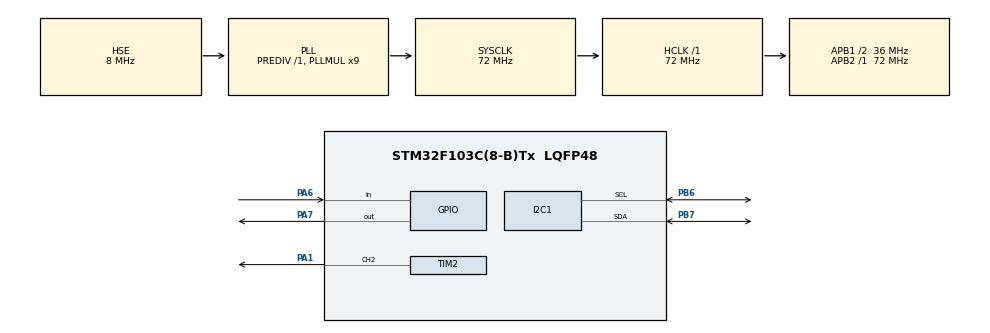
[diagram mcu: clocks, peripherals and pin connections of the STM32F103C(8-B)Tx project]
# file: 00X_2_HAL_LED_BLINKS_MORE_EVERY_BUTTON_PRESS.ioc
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Mcu.Family=STM32F1
Mcu.Name=STM32F103C(8-B)Tx
Mcu.Package=LQFP48
NVIC.PriorityGroup=NVIC_PRIORITYGROUP_4
PA1.Signal=S_TIM2_CH2
PA13.Mode=Serial_Wire
PA13.Signal=SYS_JTMS-SWDIO
PA14.Mode=Serial_Wire
PA14.Signal=SYS_JTCK-SWCLK
PA6.GPIO_PuPd=GPIO_PULLDOWN
PA6.Signal=GPIO_Input
PA7.Signal=GPIO_Output
PB6.Mode=I2C
PB6.Signal=I2C1_SCL
PB7.Mode=I2C
PB7.Signal=I2C1_SDA
PD0-OSC_IN.Mode=HSE-External-Oscillator
PD0-OSC_IN.Signal=RCC_OSC_IN
PD1-OSC_OUT.Mode=HSE-External-Oscillator
PD1-OSC_OUT.Signal=RCC_OSC_OUT
ProjectManager.HeapSize=0x200
ProjectManager.StackSize=0x400
ProjectManager.TargetToolchain=STM32CubeIDE
RCC.AHBFreq_Value=72000000
RCC.APB1CLKDivider=RCC_HCLK_DIV2
RCC.APB1Freq_Value=36000000
RCC.APB1TimFreq_Value=72000000
RCC.APB2Freq_Value=72000000
RCC.APB2TimFreq_Value=72000000
RCC.HCLKFreq_Value=72000000
RCC.PLLMUL=RCC_PLL_MUL9
RCC.PLLSourceVirtual=RCC_PLLSOURCE_HSE
RCC.SYSCLKFreq_VALUE=72000000
RCC.SYSCLKSource=RCC_SYSCLKSOURCE_PLLCLK
RCC.USBFreq_Value=72000000
SH.S_TIM2_CH2.0=TIM2_CH2,PWM Generation2 CH2
TIM2.Channel-PWM\ Generation2\ CH2=TIM_CHANNEL_2
TIM2.Period=625
TIM2.Prescaler=127
VP_TIM2_VS_ClockSourceINT.Mode=Internal
board=custom

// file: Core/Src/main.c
/* USER CODE BEGIN Header */
/**
  ******************************************************************************
  * @file           : main.c
  * @brief          : Main program body
  ******************************************************************************
  * @attention
  *
  * Copyright (c) 2024 STMicroelectronics.
  * All rights reserved.
  *
  * This software is licensed under terms that can be found in the LICENSE file
  * in the root directory of this software component.
  * If no LICENSE file comes with this software, it is provided AS-IS.
  *
  ******************************************************************************
  */
/* USER CODE END Header */
#include "main.h"

/* USER CODE BEGIN Includes */
#include "liquidcrystal_i2c.h"
/* USER CODE END Includes */

I2C_HandleTypeDef hi2c1;

TIM_HandleTypeDef htim2;

/* USER CODE BEGIN PV */
int i = 0;
/* USER CODE END PV */

void SystemClock_Config(void);
static void MX_GPIO_Init(void);
static void MX_TIM2_Init(void);
static void MX_I2C1_Init(void);

int main(void)
{

  /* MCU Configuration--------------------------------------------------------*/

  /* Reset of all peripherals, Initializes the Flash interface and the Systick. */
  HAL_Init();

  /* Configure the system clock */
  SystemClock_Config();

  /* Initialize all configured peripherals */
  MX_GPIO_Init();
  MX_TIM2_Init();
  MX_I2C1_Init();
  /* USER CODE BEGIN 2 */
  HAL_TIM_PWM_Start(&htim2, TIM_CHANNEL_2);

  HD44780_Init(2);
  HD44780_Clear();
  HD44780_SetCursor(0,0);
  HD44780_PrintStr("HELLO");
  HD44780_SetCursor(10,1);
  HD44780_PrintStr("WORLD");
  HAL_Delay(2000);

  HD44780_Clear();
  HD44780_SetCursor(0,0);
  HD44780_PrintStr("HELLO");
  HAL_Delay(2000);
  HD44780_NoBacklight();
  HAL_Delay(2000);
  HD44780_Backlight();

  HAL_Delay(2000);
  HD44780_Cursor();
  HAL_Delay(2000);
  HD44780_Blink();
  HAL_Delay(5000);
  HD44780_NoBlink();
  HAL_Delay(2000);
  HD44780_NoCursor();
  HAL_Delay(2000);

  HD44780_NoDisplay();
  HAL_Delay(2000);
  HD44780_Display();

  HD44780_Clear();
  HD44780_SetCursor(0,0);
  HD44780_PrintStr("Learning STM32 with LCD is fun :-)");
  int x;
  for(int x=0; x<40; x=x+1)
  {
    HD44780_ScrollDisplayLeft();  //HD44780_ScrollDisplayRight();
    HAL_Delay(500);
  }

  char snum[5];
  for ( int x = 1; x <= 200 ; x++ )
  {
    itoa(x, snum, 10);
    HD44780_Clear();
    HD44780_SetCursor(0,0);
    HD44780_PrintStr(snum);
    HAL_Delay (1000);
  }
  /* USER CODE END 2 */

  /* Infinite loop */
  while (1)
  {

    /* USER CODE BEGIN 3 */
	  if(HAL_GPIO_ReadPin(GPIOA, GPIO_PIN_6)){
		  i++;
		  HAL_Delay(10); //delay to prevent ark
	  }
	  if(i>4 || i==0){
		  i=0;
		  HAL_GPIO_WritePin(GPIOA, GPIO_PIN_7, GPIO_PIN_SET); //led off
	  }

	  int y;

	  switch(i){
	  case 1:
		  HAL_GPIO_TogglePin(GPIOA, GPIO_PIN_7);
		  HAL_Delay(10); //10ms | 0.01 sec
		  break;
	  case 2:
		  HAL_GPIO_TogglePin(GPIOA, GPIO_PIN_7);
		  HAL_Delay(100); //100ms | 0.1 sec
		  break;
	  case 3:
		  HAL_GPIO_TogglePin(GPIOA, GPIO_PIN_7);
		  HAL_Delay(1000); //1000ms | 1 sec
		  break;
	  case 4:
		  HAL_GPIO_TogglePin(GPIOA, GPIO_PIN_7);
		  HAL_Delay(5000); //2000ms | 2 sec
		  break;
	  case 5:
		  for(y=0;y<625;y=y+1){
			  __HAL_TIM_SET_COMPARE(&htim2, TIM_CHANNEL_2, y);
			  HAL_Delay(3);
		  }
		  break;
	  case 6:
		  for(y=625;y>0;y=y-1){
			  __HAL_TIM_SET_COMPARE(&htim2, TIM_CHANNEL_2, y);
			  HAL_Delay(3);
		  }
		  break;
	  case 7:
		  for(y=0;y<625;y=y+1){
			  __HAL_TIM_SET_COMPARE(&htim2, TIM_CHANNEL_2, y);
			  HAL_Delay(3);
		  }
		  for(y=625;y>0;y=y-1){
			  __HAL_TIM_SET_COMPARE(&htim2, TIM_CHANNEL_2, y);
			  HAL_Delay(3);
		  }
		  break;
	  case 8:
		  for(y=0;y<625;y=y+1){
			  __HAL_TIM_SET_COMPARE(&htim2, TIM_CHANNEL_2, y);
			  HAL_Delay(25);
		  }
		  for(y=625;y>0;y=y-1){
			  __HAL_TIM_SET_COMPARE(&htim2, TIM_CHANNEL_2, y);
			  HAL_Delay(25);
		  }
		  break;
	  case 9:
		  for(y=0;y<625;y=y+1){
			  __HAL_TIM_SET_COMPARE(&htim2, TIM_CHANNEL_2, y);
			  HAL_Delay(50);
		  }
		  for(y=625;y>0;y=y-1){
			  __HAL_TIM_SET_COMPARE(&htim2, TIM_CHANNEL_2, y);
			  HAL_Delay(50);
		  }
		  break;
	  case 10:
		  for(y=0;y<625;y=y+1){
			  __HAL_TIM_SET_COMPARE(&htim2, TIM_CHANNEL_2, y);
			  HAL_Delay(100);
		  }
		  for(y=625;y>0;y=y-1){
			  __HAL_TIM_SET_COMPARE(&htim2, TIM_CHANNEL_2, y);
			  HAL_Delay(100);
		  }
		  break;
	  }

  }
  /* USER CODE END 3 */
}

void SystemClock_Config(void)
{
  RCC_OscInitTypeDef RCC_OscInitStruct = {0};
  RCC_ClkInitTypeDef RCC_ClkInitStruct = {0};

  /** Initializes the RCC Oscillators according to the specified parameters
  * in the RCC_OscInitTypeDef structure.
  */
  RCC_OscInitStruct.OscillatorType = RCC_OSCILLATORTYPE_HSE;
  RCC_OscInitStruct.HSEState = RCC_HSE_ON;
  RCC_OscInitStruct.HSEPredivValue = RCC_HSE_PREDIV_DIV1;
  RCC_OscInitStruct.HSIState = RCC_HSI_ON;
  RCC_OscInitStruct.PLL.PLLState = RCC_PLL_ON;
  RCC_OscInitStruct.PLL.PLLSource = RCC_PLLSOURCE_HSE;
  RCC_OscInitStruct.PLL.PLLMUL = RCC_PLL_MUL9;
  if (HAL_RCC_OscConfig(&RCC_OscInitStruct) != HAL_OK)
  {
    Error_Handler();
  }

  /** Initializes the CPU, AHB and APB buses clocks
  */
  RCC_ClkInitStruct.ClockType = RCC_CLOCKTYPE_HCLK|RCC_CLOCKTYPE_SYSCLK
                              |RCC_CLOCKTYPE_PCLK1|RCC_CLOCKTYPE_PCLK2;
  RCC_ClkInitStruct.SYSCLKSource = RCC_SYSCLKSOURCE_PLLCLK;
  RCC_ClkInitStruct.AHBCLKDivider = RCC_SYSCLK_DIV1;
  RCC_ClkInitStruct.APB1CLKDivider = RCC_HCLK_DIV2;
  RCC_ClkInitStruct.APB2CLKDivider = RCC_HCLK_DIV1;

  if (HAL_RCC_ClockConfig(&RCC_ClkInitStruct, FLASH_LATENCY_2) != HAL_OK)
  {
    Error_Handler();
  }
}

static void MX_I2C1_Init(void)
{

  hi2c1.Instance = I2C1;
  hi2c1.Init.ClockSpeed = 100000;
  hi2c1.Init.DutyCycle = I2C_DUTYCYCLE_2;
  hi2c1.Init.OwnAddress1 = 0;
  hi2c1.Init.AddressingMode = I2C_ADDRESSINGMODE_7BIT;
  hi2c1.Init.DualAddressMode = I2C_DUALADDRESS_DISABLE;
  hi2c1.Init.OwnAddress2 = 0;
  hi2c1.Init.GeneralCallMode = I2C_GENERALCALL_DISABLE;
  hi2c1.Init.NoStretchMode = I2C_NOSTRETCH_DISABLE;
  if (HAL_I2C_Init(&hi2c1) != HAL_OK)
  {
    Error_Handler();
  }

}

static void MX_TIM2_Init(void)
{

  TIM_ClockConfigTypeDef sClockSourceConfig = {0};
  TIM_MasterConfigTypeDef sMasterConfig = {0};
  TIM_OC_InitTypeDef sConfigOC = {0};

  htim2.Instance = TIM2;
  htim2.Init.Prescaler = 127;
  htim2.Init.CounterMode = TIM_COUNTERMODE_UP;
  htim2.Init.Period = 625;
  htim2.Init.ClockDivision = TIM_CLOCKDIVISION_DIV1;
  htim2.Init.AutoReloadPreload = TIM_AUTORELOAD_PRELOAD_DISABLE;
  if (HAL_TIM_Base_Init(&htim2) != HAL_OK)
  {
    Error_Handler();
  }
  sClockSourceConfig.ClockSource = TIM_CLOCKSOURCE_INTERNAL;
  if (HAL_TIM_ConfigClockSource(&htim2, &sClockSourceConfig) != HAL_OK)
  {
    Error_Handler();
  }
  if (HAL_TIM_PWM_Init(&htim2) != HAL_OK)
  {
    Error_Handler();
  }
  sMasterConfig.MasterOutputTrigger = TIM_TRGO_RESET;
  sMasterConfig.MasterSlaveMode = TIM_MASTERSLAVEMODE_DISABLE;
  if (HAL_TIMEx_MasterConfigSynchronization(&htim2, &sMasterConfig) != HAL_OK)
  {
    Error_Handler();
  }
  sConfigOC.OCMode = TIM_OCMODE_PWM1;
  sConfigOC.Pulse = 0;
  sConfigOC.OCPolarity = TIM_OCPOLARITY_HIGH;
  sConfigOC.OCFastMode = TIM_OCFAST_DISABLE;
  if (HAL_TIM_PWM_ConfigChannel(&htim2, &sConfigOC, TIM_CHANNEL_2) != HAL_OK)
  {
    Error_Handler();
  }
  HAL_TIM_MspPostInit(&htim2);

}

static void MX_GPIO_Init(void)
{
  GPIO_InitTypeDef GPIO_InitStruct = {0};

  /* GPIO Ports Clock Enable */
  __HAL_RCC_GPIOD_CLK_ENABLE();
  __HAL_RCC_GPIOA_CLK_ENABLE();
  __HAL_RCC_GPIOB_CLK_ENABLE();

  /*Configure GPIO pin Output Level */
  HAL_GPIO_WritePin(GPIOA, GPIO_PIN_7, GPIO_PIN_RESET);

  /*Configure GPIO pin : PA6 */
  GPIO_InitStruct.Pin = GPIO_PIN_6;
  GPIO_InitStruct.Mode = GPIO_MODE_INPUT;
  GPIO_InitStruct.Pull = GPIO_PULLDOWN;
  HAL_GPIO_Init(GPIOA, &GPIO_InitStruct);

  /*Configure GPIO pin : PA7 */
  GPIO_InitStruct.Pin = GPIO_PIN_7;
  GPIO_InitStruct.Mode = GPIO_MODE_OUTPUT_PP;
  GPIO_InitStruct.Pull = GPIO_NOPULL;
  GPIO_InitStruct.Speed = GPIO_SPEED_FREQ_LOW;
  HAL_GPIO_Init(GPIOA, &GPIO_InitStruct);

}

void Error_Handler(void)
{
  __disable_irq();
  while (1)
  {
  }
}
